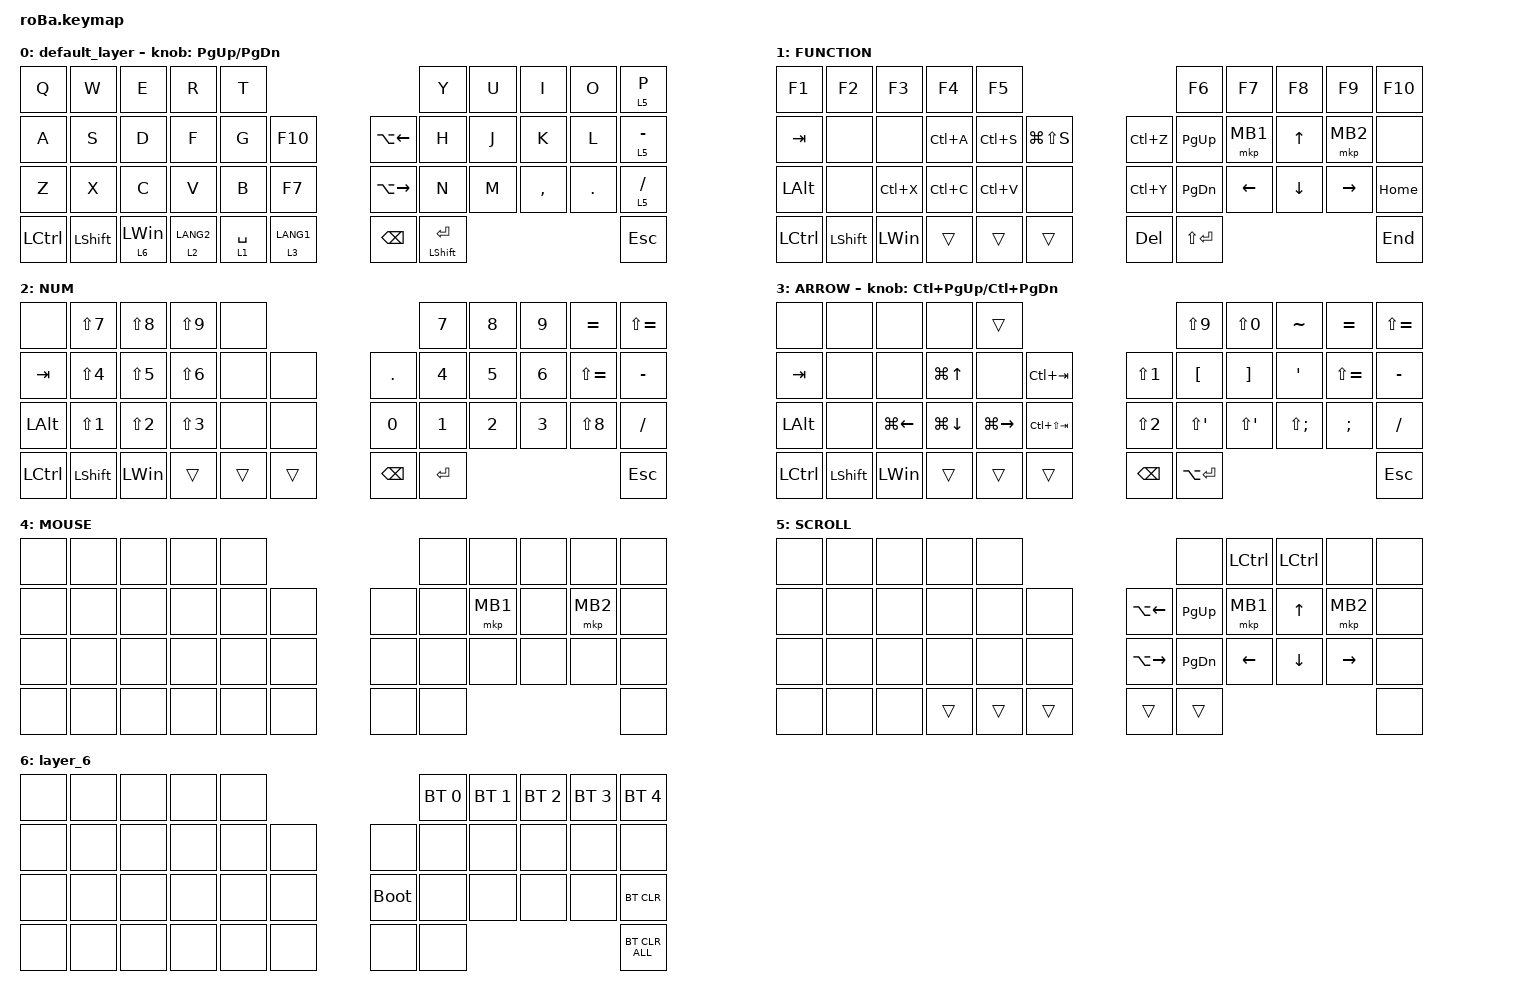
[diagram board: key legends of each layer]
#include <behaviors.dtsi>
#include <dt-bindings/zmk/bt.h>
#include <dt-bindings/zmk/keys.h>
#include <dt-bindings/zmk/pointing.h>

&mt {
    flavor = "balanced";
    quick-tap-ms = <0>;
};

&trackball {
    automouse-layer = <4>;
    scroll-layers = <5>;

    // arrows {
    //     layers = <3>;
    //     bindings =
    //         <&kp RIGHT_ARROW>,
    //         <&kp LEFT_ARROW>,
    //         <&kp UP_ARROW>,
    //         <&kp DOWN_ARROW>;
    //     tick = <10>;
    //     wait-ms = <5>;
    //     tap-ms = <5>;
    // };
};

/ {
    combos {
        compatible = "zmk,combos";

        tab {
            bindings = <&kp TAB>;
            key-positions = <11 12>;
        };

        shift_tab {
            bindings = <&kp LS(TAB)>;
            key-positions = <12 13>;
        };

        muhennkann {
            bindings = <&to_layer_0 INT_MUHENKAN>;
            key-positions = <11 10>;
        };

        double_quotation {
            bindings = <&kp DOUBLE_QUOTES>;
            key-positions = <20 21>;
        };

        eq {
            bindings = <&kp EQUAL>;
            key-positions = <24 25>;
        };
    };

    macros {
        to_layer_0: to_layer_0 {
            compatible = "zmk,behavior-macro-one-param";
            #binding-cells = <1>;
            bindings = <&to 0 &macro_param_1to1 &kp MACRO_PLACEHOLDER>;
            label = "TO_LAYER_0";
        };
    };

    behaviors {
        lt_to_layer_0: lt_to_layer_0 {
            compatible = "zmk,behavior-hold-tap";
            label = "LAYER_TAP_TO_0";
            bindings = <&mo>, <&to_layer_0>;

            #binding-cells = <2>;
            tapping-term-ms = <200>;
        };
    };

    keymap {
        compatible = "zmk,keymap";

        default_layer {
            bindings = <
&kp Q      &kp W       &kp E       &kp R                   &kp T                                                         &kp Y                 &kp U  &kp I      &kp O    &lt 5 P
&kp A      &kp S       &kp D       &kp F                   &kp G        &kp F10                     &kp LA(LEFT_ARROW)   &kp H                 &kp J  &kp K      &kp L    &lt 5 MINUS
&kp Z      &kp X       &kp C       &kp V                   &kp B        &kp F7                      &kp LA(RIGHT_ARROW)  &kp N                 &kp M  &kp COMMA  &kp DOT  &lt 5 SLASH
&kp LCTRL  &kp LSHIFT  &lt 6 LWIN  &lt_to_layer_0 2 LANG2  &lt 1 SPACE  &lt_to_layer_0 3 LANG1      &kp BACKSPACE        &mt LEFT_SHIFT ENTER                             &kp ESC
            >;

            sensor-bindings = <&inc_dec_kp PG_UP PAGE_DOWN>;
        };

        FUNCTION {
            bindings = <
&kp F1            &kp F2      &kp F3     &kp F4     &kp F5                                   &kp F6         &kp F7          &kp F8          &kp F9           &kp F10
&kp TAB           &none       &none      &kp LC(A)  &kp LC(S)  &kp LG(LS(S))      &kp LC(Z)  &kp PAGE_UP    &mkp MB1        &kp UP_ARROW    &mkp MB2         &none
&kp LALT          &none       &kp LC(X)  &kp LC(C)  &kp LC(V)  &none              &kp LC(Y)  &kp PAGE_DOWN  &kp LEFT_ARROW  &kp DOWN_ARROW  &kp RIGHT_ARROW  &kp HOME
&kp LEFT_CONTROL  &kp LSHIFT  &kp LWIN   &trans     &trans     &trans             &kp DEL    &kp LS(ENTER)                                                   &kp END
            >;
        };

        NUM {
            bindings = <
&none             &kp LS(N7)        &kp LS(N8)        &kp LS(N9)        &none                              &kp N7        &kp N8        &kp N9        &kp EQUAL      &kp LS(EQUAL)
&kp TAB           &kp LS(NUMBER_4)  &kp LS(N5)        &kp LS(NUMBER_6)  &none   &none       &kp PERIOD     &kp NUMBER_4  &kp N5        &kp NUMBER_6  &kp LS(EQUAL)  &kp MINUS
&kp LEFT_ALT      &kp LS(NUMBER_1)  &kp LS(NUMBER_2)  &kp LS(NUMBER_3)  &none   &none       &kp N0         &kp NUMBER_1  &kp NUMBER_2  &kp NUMBER_3  &kp LS(N8)     &kp SLASH
&kp LEFT_CONTROL  &kp LEFT_SHIFT    &kp LWIN          &trans            &trans  &trans      &kp BACKSPACE  &kp ENTER                                                &kp ESCAPE
            >;
        };

        ARROW {
            bindings = <
&none             &none           &none               &none               &trans                                                      &kp LS(N9)        &kp LS(N0)         &kp TILDE          &kp EQUAL      &kp LS(EQUAL)
&kp TAB           &none           &none               &kp LG(UP_ARROW)    &none                &kp LC(TAB)          &kp LS(NUMBER_1)  &kp LEFT_BRACKET  &kp RIGHT_BRACKET  &kp SQT            &kp LS(EQUAL)  &kp MINUS
&kp LEFT_ALT      &none           &kp LG(LEFT_ARROW)  &kp LG(DOWN_ARROW)  &kp LG(RIGHT_ARROW)  &kp LC(LS(TAB))      &kp LS(NUMBER_2)  &kp LS(SQT)       &kp LS(SQT)        &kp LS(SEMICOLON)  &kp SEMICOLON  &kp SLASH
&kp LEFT_CONTROL  &kp LEFT_SHIFT  &kp LWIN            &trans              &trans               &trans               &kp BACKSPACE     &kp LA(ENTER)                                                          &kp ESCAPE
            >;

            sensor-bindings = <&inc_dec_kp LC(PAGE_UP) LC(PAGE_DOWN)>;
        };

        MOUSE {
            bindings = <
&none  &none  &none  &none  &none                    &none  &none     &none  &none     &none
&none  &none  &none  &none  &none  &none      &none  &none  &mkp MB1  &none  &mkp MB2  &none
&none  &none  &none  &none  &none  &none      &none  &none  &none     &none  &none     &none
&none  &none  &none  &none  &none  &none      &none  &none                             &none
            >;
        };

        SCROLL {
            bindings = <
&none  &none  &none  &none   &none                                    &none          &kp LEFT_CONTROL  &kp LEFT_CONTROL  &none            &none
&none  &none  &none  &none   &none   &none       &kp LA(LEFT_ARROW)   &kp PAGE_UP    &mkp MB1          &kp UP_ARROW      &mkp MB2         &none
&none  &none  &none  &none   &none   &none       &kp LA(RIGHT_ARROW)  &kp PAGE_DOWN  &kp LEFT_ARROW    &kp DOWN_ARROW    &kp RIGHT_ARROW  &none
&none  &none  &none  &trans  &trans  &trans      &trans               &trans                                                              &none
            >;
        };

        layer_6 {
            bindings = <
&none  &none  &none  &none  &none                          &bt BT_SEL 0  &bt BT_SEL 1  &bt BT_SEL 2  &bt BT_SEL 3  &bt BT_SEL 4
&none  &none  &none  &none  &none  &none      &none        &none         &none         &none         &none         &none
&none  &none  &none  &none  &none  &none      &bootloader  &none         &none         &none         &none         &bt BT_CLR
&none  &none  &none  &none  &none  &none      &none        &none                                                   &bt BT_CLR_ALL
            >;
        };
    };
};
